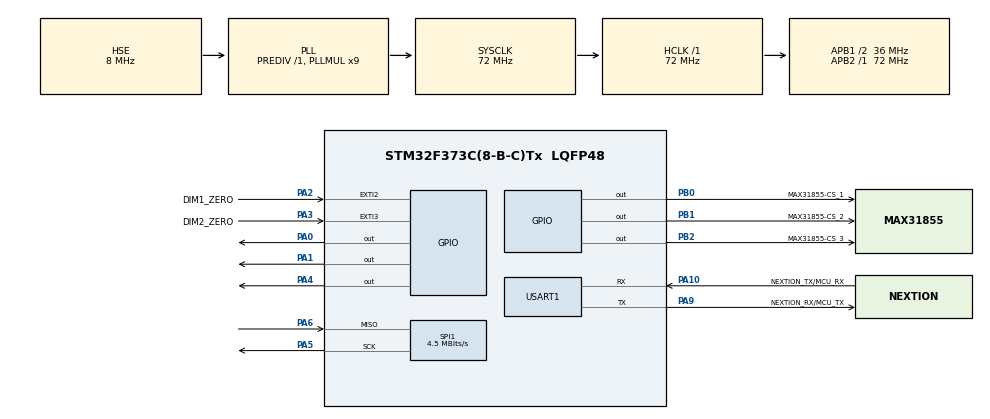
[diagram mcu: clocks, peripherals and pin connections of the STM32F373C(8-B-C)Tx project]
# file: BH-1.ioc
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Mcu.Family=STM32F3
Mcu.Name=STM32F373C(8-B-C)Tx
Mcu.Package=LQFP48
NVIC.EXTI2_TSC_IRQn=true\:0\:0\:false\:false\:true\:true\:true
NVIC.EXTI3_IRQn=true\:0\:0\:false\:false\:true\:true\:true
NVIC.PriorityGroup=NVIC_PRIORITYGROUP_4
NVIC.TIM3_IRQn=true\:0\:0\:false\:false\:true\:true\:true
PA0.Signal=GPIO_Output
PA1.Signal=GPIO_Output
PA10.GPIO_Label=NEXTION_TX/MCU_RX
PA10.Mode=Asynchronous
PA10.Signal=USART1_RX
PA13.Mode=Serial_Wire
PA13.Signal=SYS_JTMS-SWDIO
PA14.Mode=Serial_Wire
PA14.Signal=SYS_JTCK-SWCLK
PA2.GPIO_Label=DIM1_ZERO
PA2.GPIO_ModeDefaultEXTI=GPIO_MODE_IT_FALLING
PA2.Signal=GPXTI2
PA3.GPIO_Label=DIM2_ZERO
PA3.GPIO_ModeDefaultEXTI=GPIO_MODE_IT_FALLING
PA3.Signal=GPXTI3
PA4.Signal=GPIO_Output
PA5.Mode=RX_Only_Simplex_Unidirect_Master
PA5.Signal=SPI1_SCK
PA6.Mode=RX_Only_Simplex_Unidirect_Master
PA6.Signal=SPI1_MISO
PA9.GPIO_Label=NEXTION_RX/MCU_TX
PA9.Mode=Asynchronous
PA9.Signal=USART1_TX
PB0.GPIO_Label=MAX31855-CS_1
PB0.GPIO_Speed=GPIO_SPEED_FREQ_HIGH
PB0.Signal=GPIO_Output
PB1.GPIO_Label=MAX31855-CS_2
PB1.GPIO_Speed=GPIO_SPEED_FREQ_HIGH
PB1.Signal=GPIO_Output
PB2.GPIO_Label=MAX31855-CS_3
PB2.GPIO_Speed=GPIO_SPEED_FREQ_HIGH
PB2.Signal=GPIO_Output
PC14-OSC32_IN.Mode=LSE-External-Oscillator
PC14-OSC32_IN.Signal=RCC_OSC32_IN
PC15-OSC32_OUT.Mode=LSE-External-Oscillator
PC15-OSC32_OUT.Signal=RCC_OSC32_OUT
PF0-OSC_IN.Mode=HSE-External-Oscillator
PF0-OSC_IN.Signal=RCC_OSC_IN
PF1-OSC_OUT.Mode=HSE-External-Oscillator
PF1-OSC_OUT.Signal=RCC_OSC_OUT
ProjectManager.HeapSize=0x200
ProjectManager.StackSize=0x400
ProjectManager.TargetToolchain=EWARM V8.32
RCC.AHBFreq_Value=72000000
RCC.APB1CLKDivider=RCC_HCLK_DIV2
RCC.APB1Freq_Value=36000000
RCC.APB1TimFreq_Value=72000000
RCC.APB2Freq_Value=72000000
RCC.APB2TimFreq_Value=72000000
RCC.CortexFreq_Value=72000000
RCC.EnbaleCSS=true
RCC.HCLKFreq_Value=72000000
RCC.HSE_VALUE=8000000
RCC.HSI_VALUE=8000000
RCC.PLLMUL=RCC_PLL_MUL9
RCC.PLLSourceVirtual=RCC_PLLSOURCE_HSE
RCC.RTCClockSelection=RCC_RTCCLKSOURCE_LSE
RCC.SYSCLKFreq_VALUE=72000000
RCC.SYSCLKSource=RCC_SYSCLKSOURCE_PLLCLK
RCC.USBFreq_Value=72000000
SPI1.BaudRatePrescaler=SPI_BAUDRATEPRESCALER_16
SPI1.CLKPhase=SPI_PHASE_2EDGE
SPI1.CalculateBaudRate=4.5 MBits/s
SPI1.DataSize=SPI_DATASIZE_16BIT
SPI1.Direction=SPI_DIRECTION_2LINES_RXONLY
SPI1.Mode=SPI_MODE_MASTER
SPI1.VirtualType=VM_MASTER
TIM3.Period=40
TIM3.Prescaler=71
USART1.VirtualMode-Asynchronous=VM_ASYNC
VP_RTC_VS_RTC_Activate.Mode=RTC_Enabled
VP_TIM3_VS_ClockSourceINT.Mode=Internal
board=custom

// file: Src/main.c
/* USER CODE BEGIN Header */
/* USER CODE END Header */

#include "main.h"
#include "rtc.h"
#include "spi.h"
#include "tim.h"
#include "usart.h"
#include "gpio.h"

/* USER CODE BEGIN Includes */
#include "timers.h"
#include "default.h"
#include "MAX31855.h"
#include "dimmer.h"
/* USER CODE END Includes */

/* USER CODE BEGIN PV */
struct sMAX31855 MAX31855_1 = {GPIOB, GPIO_PIN_0, 0,0,0,0,0,0};
struct sMAX31855 *pMAX31855_1 = &MAX31855_1;

struct sMAX31855 MAX31855_2 = {GPIOB, GPIO_PIN_1, 0,0,0,0,0,0};
struct sMAX31855 *pMAX31855_2 = &MAX31855_2;

struct sMAX31855 MAX31855_3 = {GPIOB, GPIO_PIN_2, 0,0,0,0,0,0};
struct sMAX31855 *pMAX31855_3 = &MAX31855_3;

struct sDimmer Dimmer_1 = {GPIOA, GPIO_PIN_0,&htim3,255,0,1};
struct sDimmer *pDimmer_1 = &Dimmer_1;

struct sDimmer Dimmer_2 = {GPIOA, GPIO_PIN_1,&htim3,255,0,1};
struct sDimmer *pDimmer_2 = &Dimmer_2;

int i = 0;
/* USER CODE END PV */

void SystemClock_Config(void);

int main(void)
{

  /* MCU Configuration--------------------------------------------------------*/

  /* Reset of all peripherals, Initializes the Flash interface and the Systick. */
  HAL_Init();

  /* Configure the system clock */
  SystemClock_Config();

  /* Initialize all configured peripherals */
  MX_GPIO_Init();
  MX_RTC_Init();
  MX_SPI1_Init();
  MX_USART1_UART_Init();
  MX_TIM3_Init();
  /* USER CODE BEGIN 2 */
  HAL_TIM_Base_Start_IT(&htim3);
  /* USER CODE END 2 */

  /* Infinite loop */
  /* USER CODE BEGIN WHILE */

  MAX31855_Set_CS(pMAX31855_1, 1);
  MAX31855_Set_CS(pMAX31855_2, 1);
  MAX31855_Set_CS(pMAX31855_3, 1);
  while(1) {
	if (Dimmer_2.Duty_Cycle < 255)
	  Dimmer_2.Duty_Cycle++;
	else if (Dimmer_2.Duty_Cycle >= 255)
	  Dimmer_2.Duty_Cycle = 0;
	MAX31855_Read_Data(pMAX31855_1);
	MAX31855_Read_Data(pMAX31855_2);
	MAX31855_Read_Data(pMAX31855_3);
    /* USER CODE END WHILE */

  }
}

void SystemClock_Config(void)
{
  RCC_OscInitTypeDef RCC_OscInitStruct = {0};
  RCC_ClkInitTypeDef RCC_ClkInitStruct = {0};
  RCC_PeriphCLKInitTypeDef PeriphClkInit = {0};

  /** Configure LSE Drive Capability
  */
  HAL_PWR_EnableBkUpAccess();
  __HAL_RCC_LSEDRIVE_CONFIG(RCC_LSEDRIVE_LOW);
  /** Initializes the CPU, AHB and APB busses clocks
  */
  RCC_OscInitStruct.OscillatorType = RCC_OSCILLATORTYPE_HSE|RCC_OSCILLATORTYPE_LSE;
  RCC_OscInitStruct.HSEState = RCC_HSE_ON;
  RCC_OscInitStruct.HSEPredivValue = RCC_HSE_PREDIV_DIV1;
  RCC_OscInitStruct.LSEState = RCC_LSE_ON;
  RCC_OscInitStruct.HSIState = RCC_HSI_ON;
  RCC_OscInitStruct.PLL.PLLState = RCC_PLL_ON;
  RCC_OscInitStruct.PLL.PLLSource = RCC_PLLSOURCE_HSE;
  RCC_OscInitStruct.PLL.PLLMUL = RCC_PLL_MUL9;
  if (HAL_RCC_OscConfig(&RCC_OscInitStruct) != HAL_OK)
  {
    Error_Handler();
  }
  /** Initializes the CPU, AHB and APB busses clocks
  */
  RCC_ClkInitStruct.ClockType = RCC_CLOCKTYPE_HCLK|RCC_CLOCKTYPE_SYSCLK
                              |RCC_CLOCKTYPE_PCLK1|RCC_CLOCKTYPE_PCLK2;
  RCC_ClkInitStruct.SYSCLKSource = RCC_SYSCLKSOURCE_PLLCLK;
  RCC_ClkInitStruct.AHBCLKDivider = RCC_SYSCLK_DIV1;
  RCC_ClkInitStruct.APB1CLKDivider = RCC_HCLK_DIV2;
  RCC_ClkInitStruct.APB2CLKDivider = RCC_HCLK_DIV1;

  if (HAL_RCC_ClockConfig(&RCC_ClkInitStruct, FLASH_LATENCY_2) != HAL_OK)
  {
    Error_Handler();
  }
  PeriphClkInit.PeriphClockSelection = RCC_PERIPHCLK_USART1|RCC_PERIPHCLK_RTC;
  PeriphClkInit.Usart1ClockSelection = RCC_USART1CLKSOURCE_PCLK2;
  PeriphClkInit.RTCClockSelection = RCC_RTCCLKSOURCE_LSE;
  if (HAL_RCCEx_PeriphCLKConfig(&PeriphClkInit) != HAL_OK)
  {
    Error_Handler();
  }
  /** Enables the Clock Security System
  */
  HAL_RCC_EnableCSS();
}

/* USER CODE BEGIN 4 */

void HAL_GPIO_EXTI_Callback(uint16_t GPIO_Pin) {

  if (GPIO_Pin == GPIO_PIN_2) {
	if (Dimmer_1.R_or_F == 0) {
	  Dimmer_Detect_Rising(pDimmer_1);
	  Dimmer_Detect_Rising(pDimmer_2);
	}
	else {
	  Dimmer_Detect_Falling(pDimmer_1);
	  Dimmer_Detect_Falling(pDimmer_2);
	}

  }
}

/* USER CODE END 4 */

void Error_Handler(void)
{
}

/************************ (C) COPYRIGHT STMicroelectronics *****END OF FILE****/
